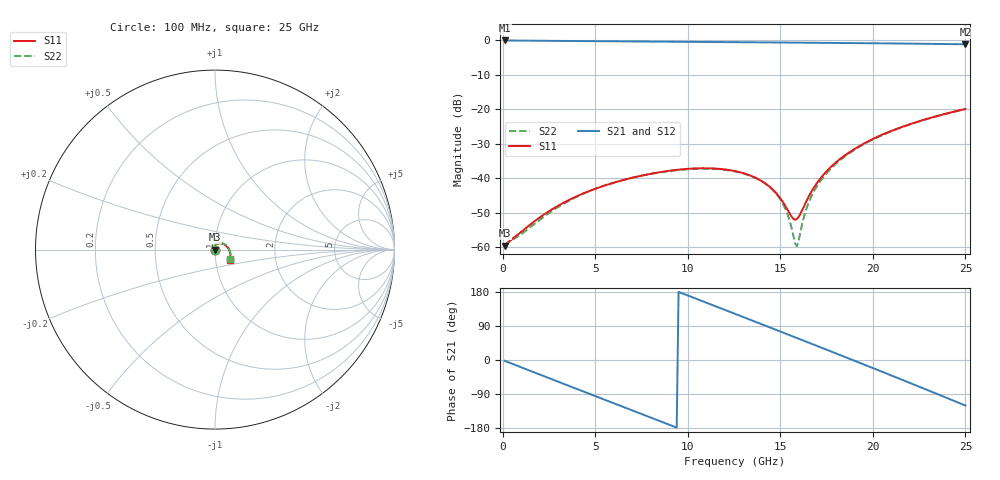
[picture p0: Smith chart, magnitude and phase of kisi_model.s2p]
! kisi B_ts6_L1L6: fast channel model (formula impedances, via model), up to 25 GHz
# Hz S RI R 50
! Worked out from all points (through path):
!   250 points, 100 MHz to 25 GHz, reference 50 ohm
!   highest |S21| = -0.01 dB at 100 MHz (marker M1); lowest = -1.1 dB at 25 GHz (marker M2)
!   group delay of S21, straight-line fit = 53.1 ps
!   lowest |S11| = -59.5 dB at 100 MHz (marker M3), VSWR 1.00, Z = 50.1 - j0.00904 ohm
!   |S11| at or under -10 dB: start of sweep to end of sweep
!   |S22| runs from -59.7 to -19.9 dB; largest |S21 - S12| = 0
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1e8  0.00105 -9.02e-05  0.9977 -0.0347  0.9977 -0.0347  0.00105 -8.72e-05
2e9  -0.00168 -0.00212  0.7741 -0.6141  0.7741 -0.6141  -0.0018 -0.00173
3.2e9  -0.00422 -0.000786  0.4734 -0.8609  0.4734 -0.8609  -0.00414 3.47e-05
4.3e9  -0.00568 0.00175  0.1358 -0.968  0.1358 -0.968  -0.00514 0.00287
6.2e9  -0.00531 0.00718  -0.4539 -0.8564  -0.4539 -0.8564  -0.00365 0.00819
8.4e9  -0.000515 0.0121  -0.8991 -0.3364  -0.8991 -0.3364  0.00203 0.0119
1.04e10  0.00626 0.0124  -0.9086 0.2833  -0.9086 0.2833  0.0086 0.0107
1.26e10  0.0108 0.00651  -0.4848 0.8084  -0.4848 0.8084  0.012 0.00359
1.39e10  0.00912 0.00227  -0.1013 0.9318  -0.1013 0.9318  0.00928 -0.001
1.48e10  0.00593 0.000839  0.1776 0.9164  0.1776 0.9164  0.00529 -0.00249
1.53e10  0.00371 0.00101  0.3267 0.8722  0.3267 0.8722  0.0026 -0.00227
1.57e10  0.00188 0.00177  0.4392 0.8194  0.4392 0.8194  0.000391 -0.00143
1.59e10  0.000995 0.00236  0.4925 0.7875  0.4925 0.7875  -0.000692 -0.000769
1.63e10  -0.000638 0.004  0.5922 0.7133  0.5922 0.7133  -0.00272 0.00103
1.67e10  -0.00196 0.00623  0.681 0.6265  0.681 0.6265  -0.00442 0.00347
1.76e10  -0.00297 0.0131  0.8331 0.3935  0.8331 0.3935  -0.00627 0.011
1.88e10  0.00209 0.0244  0.9152 0.0331  0.9152 0.0331  -0.00206 0.0237
1.98e10  0.0133 0.0323  0.8693 -0.2718  0.8693 -0.2718  0.00885 0.0331
2.09e10  0.0323 0.0348  0.7048 -0.5676  0.7048 -0.5676  0.0282 0.0375
2.3e10  0.0734 0.00749  0.1515 -0.8794  0.1515 -0.8794  0.072 0.0132
2.4e10  0.0844 -0.0219  -0.1554 -0.8718  -0.1554 -0.8718  0.0853 -0.0157
2.5e10  0.0828 -0.0584  -0.4408 -0.7595  -0.4408 -0.7595  0.086 -0.0525
